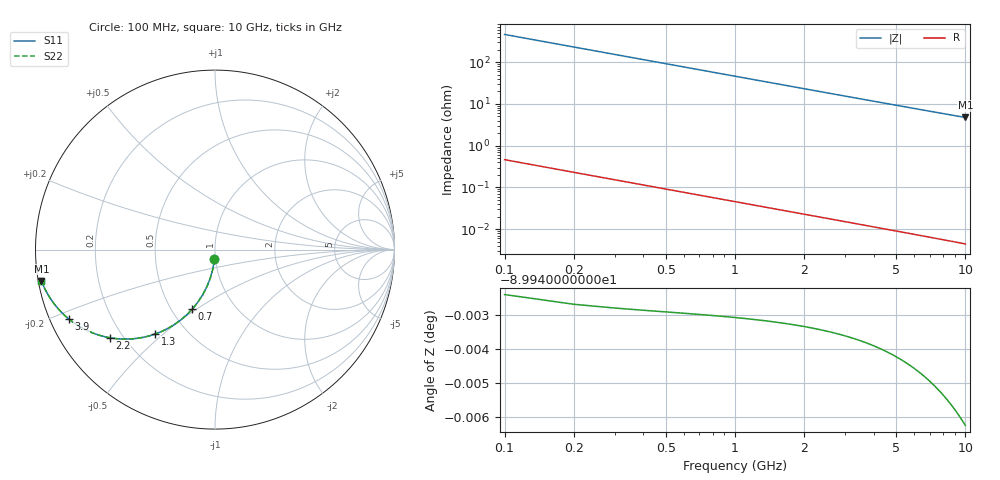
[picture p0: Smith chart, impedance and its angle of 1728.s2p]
# Hz S RI R 50.00
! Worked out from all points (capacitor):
!   100 points, 100 MHz to 10 GHz, reference 50 ohm
!   read as one part in shunt: C = 3.46 pF near 100 MHz
!   lowest |Z| = 4.74 ohm at 10 GHz (marker M1)
!   S11 on the Smith chart (normalised r, x): 100 MHz: 0.99, -0.11; 700 MHz: 0.63, -0.48; 1.3 GHz: 0.33, -0.47; 2.2 GHz: 0.15, -0.36; 3.9 GHz: 0.05, -0.22; 10 GHz: 0.01, -0.09
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1e8  -0.00299 -0.0541  0.997 -0.0542  0.997 -0.0542  -0.00299 -0.0541
2e8  -0.0118 -0.1073  0.9882 -0.1075  0.9882 -0.1075  -0.0118 -0.1073
3e8  -0.026 -0.1586  0.9739 -0.1589  0.9739 -0.1589  -0.026 -0.1586
4e8  -0.0453 -0.2073  0.9547 -0.2076  0.9547 -0.2076  -0.0453 -0.2073
5e8  -0.0689 -0.2527  0.931 -0.2531  0.931 -0.2531  -0.0689 -0.2527
6e8  -0.0963 -0.2942  0.9037 -0.2947  0.9037 -0.2947  -0.0963 -0.2942
7e8  -0.1266 -0.3317  0.8734 -0.3323  0.8734 -0.3323  -0.1266 -0.3317
8e8  -0.1591 -0.3649  0.8409 -0.3656  0.8409 -0.3656  -0.1591 -0.3649
1e9  -0.2279 -0.4186  0.772 -0.4194  0.772 -0.4194  -0.2279 -0.4186
1.3e9  -0.3325 -0.4701  0.6674 -0.4712  0.6674 -0.4712  -0.3325 -0.4701
1.5e9  -0.3986 -0.4885  0.6014 -0.4897  0.6014 -0.4897  -0.3986 -0.4885
1.8e9  -0.488 -0.4986  0.512 -0.5001  0.512 -0.5001  -0.488 -0.4986
2.2e9  -0.587 -0.4909  0.413 -0.4928  0.413 -0.4928  -0.587 -0.4909
2.5e9  -0.647 -0.4763  0.3529 -0.4784  0.3529 -0.4784  -0.647 -0.4763
2.8e9  -0.6967 -0.458  0.3033 -0.4604  0.3033 -0.4604  -0.6967 -0.458
3.4e9  -0.7717 -0.4178  0.2283 -0.4207  0.2283 -0.4207  -0.7717 -0.4178
3.9e9  -0.8162 -0.3852  0.1838 -0.3885  0.1838 -0.3885  -0.8162 -0.3852
4.5e9  -0.8551 -0.3496  0.1449 -0.3534  0.1449 -0.3534  -0.8551 -0.3496
5.1e9  -0.8833 -0.3184  0.1167 -0.3227  0.1167 -0.3227  -0.8833 -0.3184
6.7e9  -0.9287 -0.2539  0.0712 -0.2596  0.0712 -0.2596  -0.9287 -0.2539
8.4e9  -0.9534 -0.2066  0.0466 -0.2139  0.0466 -0.2139  -0.9534 -0.2066
1e10  -0.9667 -0.1745  0.0333 -0.1832  0.0333 -0.1832  -0.9667 -0.1745
